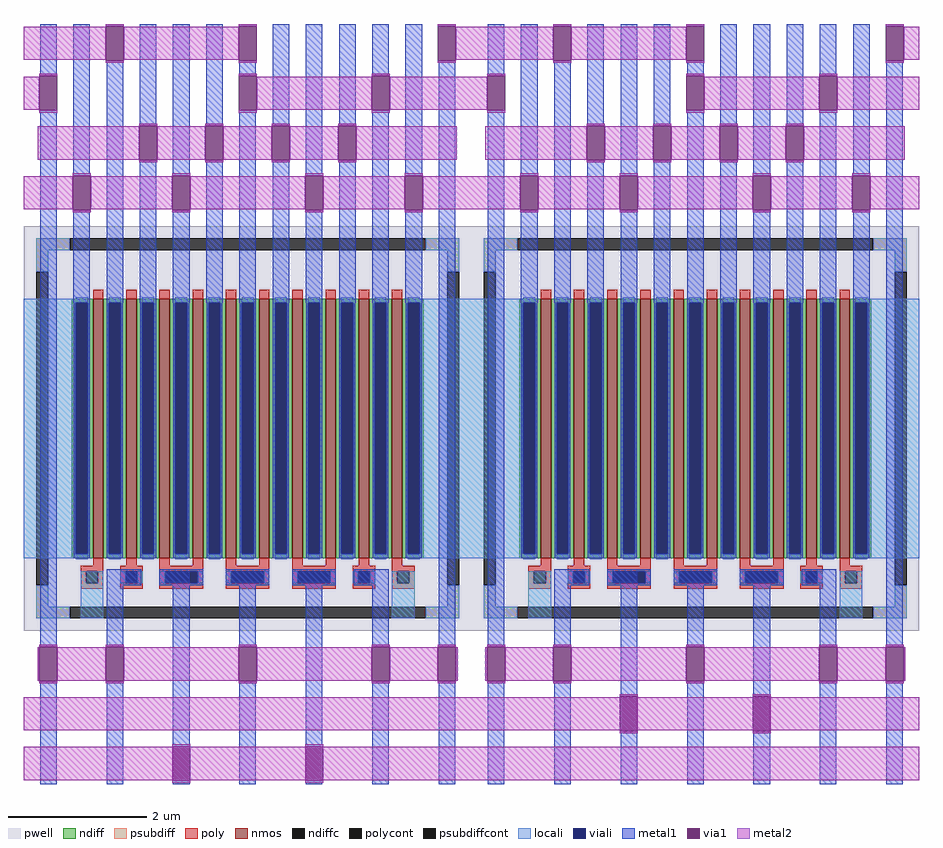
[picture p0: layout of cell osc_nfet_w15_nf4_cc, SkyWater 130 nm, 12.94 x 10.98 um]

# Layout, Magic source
magic
tech sky130A
magscale 1 2
<< metal1 >>
rect 1721 21 1769 23
rect 2105 21 2153 23
rect 1719 15 1771 21
rect 1719 -91 1771 -85
rect 2103 15 2155 21
rect 2103 -91 2155 -85
rect 1721 -94 1769 -91
rect 2105 -94 2153 -91
rect 427 -123 475 -121
rect 811 -123 859 -121
rect 425 -129 477 -123
rect 425 -235 477 -229
rect 809 -129 861 -123
rect 809 -235 861 -229
rect 427 -238 475 -235
rect 811 -238 859 -235
<< via1 >>
rect 1719 -85 1771 15
rect 2103 -85 2155 15
rect 425 -229 477 -129
rect 809 -229 861 -129
<< metal2 >>
rect 1719 15 1771 21
rect 1717 -83 1719 13
rect 2103 15 2155 21
rect 1771 -83 1773 13
rect 2101 -83 2103 13
rect 1719 -91 1771 -85
rect 2155 -83 2157 13
rect 2103 -91 2155 -85
rect 425 -129 477 -123
rect 423 -227 425 -131
rect 809 -129 861 -123
rect 477 -227 479 -131
rect 807 -227 809 -131
rect 425 -235 477 -229
rect 861 -227 863 -131
rect 809 -235 861 -229
use osc_nfet_w15_nf4  osc_nfet_w15_nf4_0
transform 1 0 130 0 1 227
box -134 -465 1160 1732
use osc_nfet_w15_nf4  osc_nfet_w15_nf4_1
transform 1 0 1424 0 1 227
box -134 -465 1160 1732
<< end >>

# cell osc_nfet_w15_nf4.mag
magic
tech sky130A
magscale 1 2
<< pwell >>
rect -134 188 -24 938
rect 1050 188 1160 938
rect 30 14 96 150
rect 921 109 927 161
rect 930 14 996 150
<< locali >>
rect -134 188 16 938
rect 1010 188 1160 938
rect 30 14 96 150
rect 930 14 996 150
<< metal1 >>
rect -87 1588 -39 1732
rect -89 1582 -37 1588
rect -89 1476 -37 1482
rect -87 -62 -39 1476
rect 9 1300 57 1732
rect 103 1726 155 1732
rect 103 1620 155 1626
rect 7 1294 59 1300
rect 7 1188 59 1194
rect 9 926 57 1188
rect 105 926 153 1620
rect 201 1444 249 1732
rect 199 1438 251 1444
rect 199 1332 251 1338
rect 201 926 249 1332
rect 297 1300 345 1732
rect 393 1444 441 1732
rect 487 1726 539 1732
rect 487 1620 539 1626
rect 489 1588 537 1620
rect 487 1582 539 1588
rect 487 1476 539 1482
rect 391 1438 443 1444
rect 391 1332 443 1338
rect 295 1294 347 1300
rect 295 1188 347 1194
rect 297 926 345 1188
rect 393 926 441 1332
rect 489 926 537 1476
rect 585 1444 633 1732
rect 583 1438 635 1444
rect 583 1332 635 1338
rect 585 926 633 1332
rect 681 1300 729 1732
rect 777 1444 825 1732
rect 873 1588 921 1732
rect 871 1582 923 1588
rect 871 1476 923 1482
rect 775 1438 827 1444
rect 775 1332 827 1338
rect 679 1294 731 1300
rect 679 1188 731 1194
rect 681 926 729 1188
rect 777 926 825 1332
rect 873 926 921 1476
rect 969 1300 1017 1732
rect 1063 1726 1115 1732
rect 1063 1620 1115 1626
rect 967 1294 1019 1300
rect 967 1188 1019 1194
rect 969 926 1017 1188
rect 105 110 206 156
rect 258 110 345 156
rect 369 110 384 156
rect 450 110 576 156
rect 642 110 768 156
rect 820 110 921 156
rect 105 -62 153 110
rect -89 -68 -37 -62
rect -89 -174 -37 -168
rect 103 -68 155 -62
rect 103 -174 155 -168
rect -87 -465 -39 -174
rect 105 -465 153 -174
rect 297 -465 345 110
rect 489 -62 537 110
rect 487 -68 539 -62
rect 487 -174 539 -168
rect 489 -465 537 -174
rect 681 -465 729 110
rect 873 -62 921 110
rect 1065 -62 1113 1620
rect 871 -68 923 -62
rect 871 -174 923 -168
rect 1063 -68 1115 -62
rect 1063 -174 1115 -168
rect 873 -465 921 -174
rect 1065 -465 1113 -174
<< via1 >>
rect -89 1482 -37 1582
rect 103 1626 155 1726
rect 7 1194 59 1294
rect 199 1338 251 1438
rect 487 1626 539 1726
rect 487 1482 539 1582
rect 391 1338 443 1438
rect 295 1194 347 1294
rect 583 1338 635 1438
rect 871 1482 923 1582
rect 775 1338 827 1438
rect 679 1194 731 1294
rect 1063 1626 1115 1726
rect 967 1194 1019 1294
rect -89 -168 -37 -68
rect 103 -168 155 -68
rect 487 -168 539 -68
rect 871 -168 923 -68
rect 1063 -168 1115 -68
<< metal2 >>
rect 103 1726 155 1732
rect -134 1628 103 1724
rect 487 1726 539 1732
rect 155 1628 487 1724
rect 103 1620 155 1626
rect 487 1620 539 1626
rect 1063 1726 1115 1732
rect 1115 1628 1160 1724
rect 1063 1620 1115 1626
rect -89 1582 -37 1588
rect -134 1484 -89 1580
rect -89 1476 -37 1482
rect 487 1582 539 1588
rect 871 1582 923 1588
rect 539 1484 871 1580
rect 487 1476 539 1482
rect 923 1484 1160 1580
rect 871 1476 923 1482
rect 199 1438 251 1444
rect -94 1340 199 1436
rect 391 1438 443 1444
rect 251 1340 391 1436
rect 199 1332 251 1338
rect 583 1438 635 1444
rect 443 1340 583 1436
rect 391 1332 443 1338
rect 775 1438 827 1444
rect 635 1340 775 1436
rect 583 1332 635 1338
rect 827 1340 1118 1436
rect 775 1332 827 1338
rect 7 1294 59 1300
rect -134 1196 7 1292
rect 295 1294 347 1300
rect 59 1196 295 1292
rect 7 1188 59 1194
rect 679 1294 731 1300
rect 347 1196 679 1292
rect 295 1188 347 1194
rect 967 1294 1019 1300
rect 731 1196 967 1292
rect 679 1188 731 1194
rect 1019 1196 1160 1292
rect 967 1188 1019 1194
rect -89 -68 -37 -62
rect -94 -166 -89 -70
rect 103 -68 155 -62
rect -37 -166 103 -70
rect -89 -174 -37 -168
rect 487 -68 539 -62
rect 155 -166 487 -70
rect 103 -174 155 -168
rect 871 -68 923 -62
rect 539 -166 871 -70
rect 487 -174 539 -168
rect 1063 -68 1115 -62
rect 923 -166 1063 -70
rect 871 -174 923 -168
rect 1115 -166 1120 -70
rect 1063 -174 1115 -168
rect -134 -310 1160 -214
rect -134 -454 1160 -358
use sky130_fd_pr__nfet_01v8_QMBXET  sky130_fd_pr__nfet_01v8_QMBXET_0
transform 1 0 513 0 1 563
box -647 -585 647 585
<< labels >>
flabel locali -134 188 16 938 0 FreeSans 320 0 0 0 VSUB
port 0 nsew
flabel locali 1010 188 1160 938 0 FreeSans 320 0 0 0 VSUB
port 0 nsew
flabel metal2 -134 1628 -89 1724 0 FreeSans 128 0 0 0 drain
port 2 nsew
flabel metal2 -134 1484 -89 1580 0 FreeSans 128 0 0 0 gate
port 1 nsew
flabel metal2 -134 -310 -89 -214 0 FreeSans 176 0 0 0 en1
port 3 nsew
flabel metal2 -134 -454 -89 -358 0 FreeSans 176 0 0 0 en2
port 4 nsew
<< end >>

# cell sky130_fd_pr__nfet_01v8_QMBXET: kit device sky130_fd_pr__nfet_01v8, w 3.75 l 0.150 m 1 nf 10 diffcov 100 polycov 100 guard 1 glc 1 grc 1 gtc 1 gbc 1 tbcov 100 rlcov 100 topc 1 botc 1 poverlap 0 doverlap 1 lmin 0.15 wmin 0.42 compatible {sky130_fd_pr__nfet_01v8 sky130_fd_pr__nfet_01v8_lvt sky130_fd_bs_flash__special_sonosfet_star sky130_fd_pr__nfet_g5v0d10v5 sky130_fd_pr__nfet_05v0_nvt sky130_fd_pr__nfet_03v3_nvt} full_metal 1 viasrc 100 viadrn 100 viagate 100 viagb 0 viagr 0 viagl 0 viagt 0
